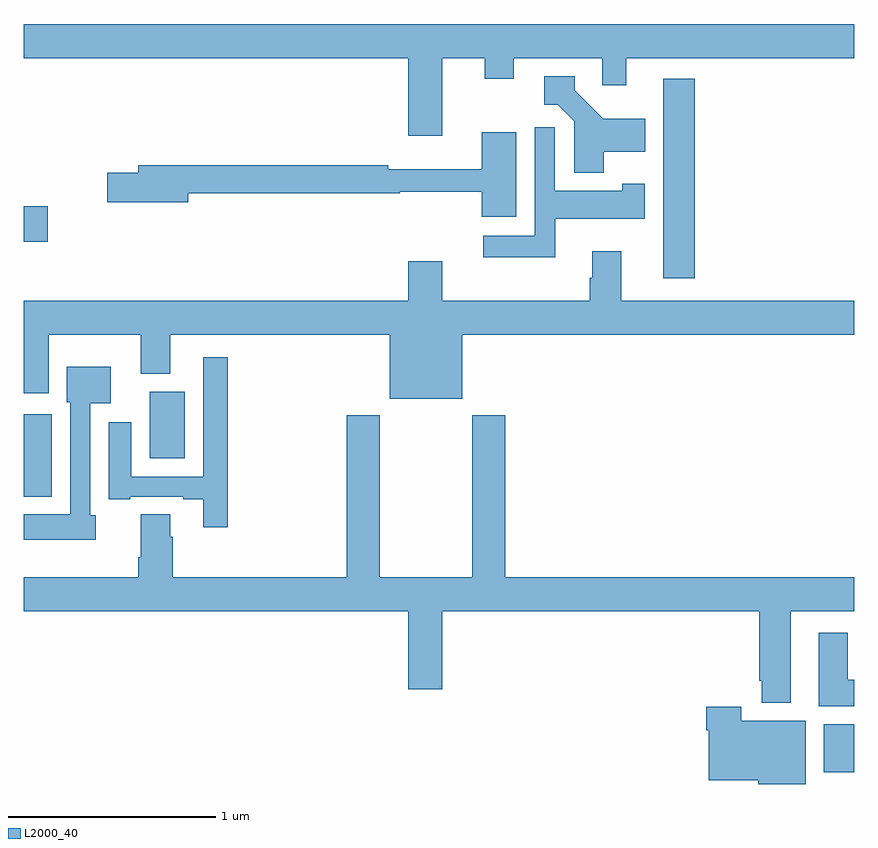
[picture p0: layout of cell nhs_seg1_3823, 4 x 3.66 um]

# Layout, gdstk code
import gdstk
lib = gdstk.Library(unit=1e-6, precision=1e-09)
def R(c, l, rs):  # rectangles x0, y0, x1, y1
    for r in rs: c.add(gdstk.rectangle(r[:2], r[2:], *l))
def P(c, l, *ps):  # polygons
    for p in ps: c.add(gdstk.Polygon(p, *l))
L2000_40 = (2000, 40)

nhs_seg1_3823 = lib.new_cell('nhs_seg1_3823')
R(nhs_seg1_3823, L2000_40, [(322.853,556.286,323,556.516), (319,557.612,319.135,558.01), (319.607,557.798,319.777,558.118), (322.079,558.663,322.232,559.624), (319,558.839,319.117,559.01)])
P(nhs_seg1_3823, L2000_40, [(321.016,559.724),(321.221,559.724),(321.221,559.625),(321.361,559.625),(321.361,559.724),(321.786,559.724),(321.786,559.593),(321.901,559.593),(321.901,559.724),(323,559.724),(323,559.888),(319,559.888),(319,559.724),(320.852,559.724),(320.852,559.35),(321.016,559.35)],
  [(321.793,559.274),(321.994,559.274),(321.994,559.432),(321.791,559.432),(321.654,559.569),(321.654,559.636),(321.507,559.636),(321.507,559.499),(321.571,559.499),(321.651,559.419),(321.651,559.172),(321.793,559.172)],
  [(321.559,558.95),(321.99,558.95),(321.99,559.12),(321.882,559.12),(321.882,559.084),(321.558,559.084),(321.558,559.392),(321.462,559.392),(321.462,558.868),(321.213,558.868),(321.213,558.764),(321.559,558.764)],
  [(321.373,559.366),(321.206,559.366),(321.206,559.189),(320.756,559.189),(320.756,559.208),(319.553,559.208),(319.553,559.172),(319.404,559.172),(319.404,559.03),(319.792,559.03),(319.792,559.072),(320.81,559.072),(320.81,559.08),(321.206,559.08),(321.206,558.96),(321.373,558.96)],
  [(321.112,558.392),(323,558.392),(323,558.556),(321.877,558.556),(321.877,558.793),(321.737,558.793),(321.737,558.666),(321.725,558.666),(321.725,558.556),(321.016,558.556),(321.016,558.745),(320.852,558.745),(320.852,558.556),(319,558.556),(319,558.111),(319.12,558.111),(319.12,558.392),(319.565,558.392),(319.565,558.203),(319.705,558.203),(319.705,558.392),(320.762,558.392),(320.762,558.083),(321.112,558.083)],
  [(319.982,558.283),(319.866,558.283),(319.866,557.709),(319.519,557.709),(319.519,557.971),(319.409,557.971),(319.409,557.601),(319.513,557.601),(319.513,557.613),(319.769,557.613),(319.769,557.601),(319.865,557.601),(319.865,557.466),(319.982,557.466)],
  [(319.348,557.523),(319.32,557.523),(319.32,558.062),(319.42,558.062),(319.42,558.238),(319.208,558.238),(319.208,558.066),(319.224,558.066),(319.224,557.527),(319,557.527),(319,557.405),(319.348,557.405)],
  [(322.693,557.06),(323,557.06),(323,557.224),(321.32,557.224),(321.32,558.004),(321.16,558.004),(321.16,557.224),(320.715,557.224),(320.715,558.004),(320.555,558.004),(320.555,557.224),(319.718,557.224),(319.718,557.42),(319.705,557.42),(319.705,557.528),(319.565,557.528),(319.565,557.32),(319.553,557.32),(319.553,557.224),(319,557.224),(319,557.06),(320.852,557.06),(320.852,556.686),(321.016,556.686),(321.016,557.06),(322.541,557.06),(322.541,556.726),(322.553,556.726),(322.553,556.619),(322.693,556.619)],
  [(323,556.732),(322.969,556.732),(322.969,556.957),(322.829,556.957),(322.829,556.604),(323,556.604)],
  [(322.765,556.534),(322.456,556.534),(322.456,556.6),(322.286,556.6),(322.286,556.487),(322.298,556.487),(322.298,556.247),(322.536,556.247),(322.536,556.229),(322.765,556.229)])

lib.write_gds('nhs_seg1_3823.gds')
